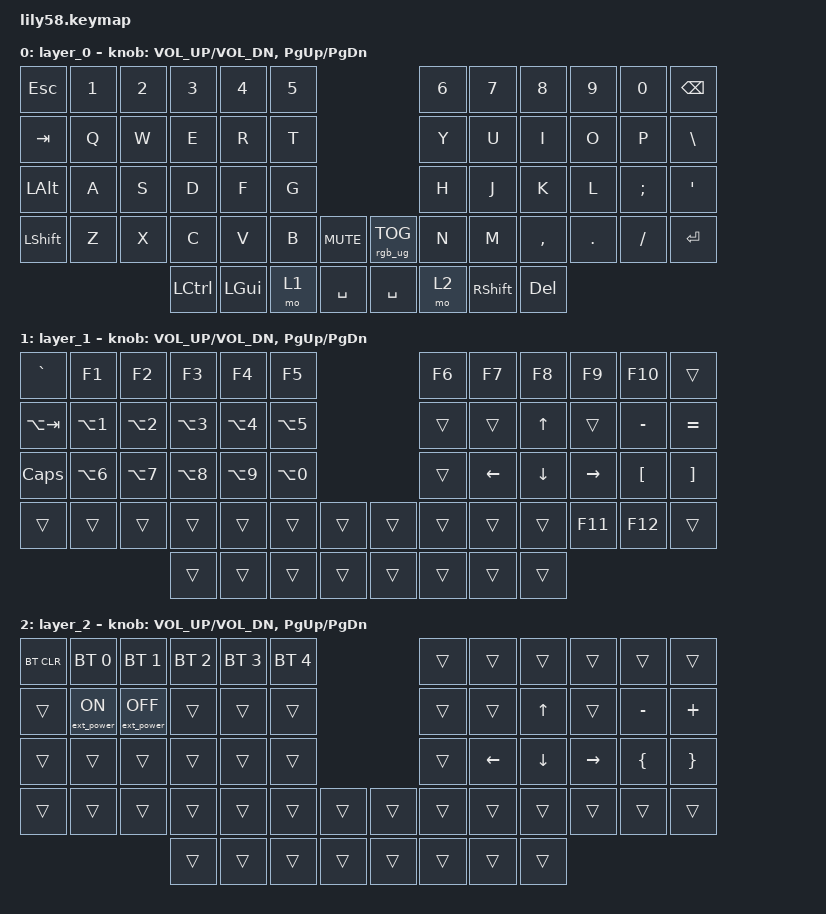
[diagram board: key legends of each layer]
/*
 * Copyright (c) 2020 The ZMK Contributors
 *
 * SPDX-License-Identifier: MIT
 */

#include <behaviors.dtsi>
#include <dt-bindings/zmk/bt.h>
#include <dt-bindings/zmk/ext_power.h>
#include <dt-bindings/zmk/keys.h>
#include <dt-bindings/zmk/rgb.h>

/ {
    // Activate ADJUST layer by pressing raise and lower

    conditional_layers {
        compatible = "zmk,conditional-layers";

        adjust_layer {
            if-layers = <1 2>;
            then-layer = <3>;
        };
    };

    keymap {
        compatible = "zmk,keymap";

        layer_0 {
            // ------------------------------------------------------------------------------------------------------------
            // |  ESC  |  1  |  2  |  3   |  4   |  5   |                   |  6   |  7    |  8    |  9   |   0   |   `   |
            // |  TAB  |  Q  |  W  |  E   |  R   |  T   |                   |  Y   |  U    |  I    |  O   |   P   |   -   |
            // |  CTRL |  A  |  S  |  D   |  F   |  G   |                   |  H   |  J    |  K    |  L   |   ;   |   '   |
            // | SHIFT |  Z  |  X  |  C   |  V   |  B   |  MUTE  |  |RGB_TOG|  N   |  M    |  ,    |  .   |   /   | SHIFT |
            //                     | ALT  | GUI  | LOWER|  SPACE |  | ENTER | RAISE| BSPC  | GUI   |

            bindings = <
&kp ESC         &kp N1  &kp N2  &kp N3            &kp N4    &kp N5                                 &kp N6  &kp N7           &kp N8      &kp N9   &kp N0    &kp BACKSPACE
&kp TAB         &kp Q   &kp W   &kp E             &kp R     &kp T                                  &kp Y   &kp U            &kp I       &kp O    &kp P     &kp BACKSLASH
&kp LEFT_ALT    &kp A   &kp S   &kp D             &kp F     &kp G                                  &kp H   &kp J            &kp K       &kp L    &kp SEMI  &kp SQT
&kp LEFT_SHIFT  &kp Z   &kp X   &kp C             &kp V     &kp B   &kp C_MUTE    &rgb_ug RGB_TOG  &kp N   &kp M            &kp COMMA   &kp DOT  &kp FSLH  &kp ENTER
                                &kp LEFT_CONTROL  &kp LGUI  &mo 1   &kp SPACE     &kp SPACE        &mo 2   &kp RIGHT_SHIFT  &kp DELETE
            >;

            sensor-bindings = <&inc_dec_kp C_VOL_UP C_VOL_DN &inc_dec_kp PG_UP PG_DN>;
        };

        layer_1 {
            // ------------------------------------------------------------------------------------------------------------
            // | BTCLR | BT1 | BT2 |  BT3 |  BT4 |  BT5 |                   |      |       |       |      |       |       |
            // |  F1   |  F2 |  F3 |  F4  |  F5  |  F6  |                   |  F7  |  F8   |  F9   |  F10 |  F11  |  F12  |
            // |   `   |  !  |  @  |  #   |  $   |  %   |                   |  ^   |  &    |  *    |  (   |   )   |   ~   |
            // |EXTPWR |     |     |      |      |      |        |  |       |      |  _    |  +    |  {   |   }   |  "|"  |
            //                     |      |      |      |        |  |       |      |       |       |

            bindings = <
&kp GRAVE    &kp F1            &kp F2            &kp F3            &kp F4            &kp F5                              &kp F6  &kp F7          &kp F8          &kp F9           &kp F10           &trans
&kp LA(TAB)  &kp LA(NUMBER_1)  &kp LA(NUMBER_2)  &kp LA(NUMBER_3)  &kp LA(NUMBER_4)  &kp LA(N5)                          &trans  &trans          &kp UP_ARROW    &trans           &kp MINUS         &kp EQUAL
&kp CAPS     &kp LA(NUMBER_6)  &kp LA(NUMBER_7)  &kp LA(NUMBER_8)  &kp LA(NUMBER_9)  &kp LA(NUMBER_0)                    &trans  &kp LEFT_ARROW  &kp DOWN_ARROW  &kp RIGHT_ARROW  &kp LEFT_BRACKET  &kp RIGHT_BRACKET
&trans       &trans            &trans            &trans            &trans            &trans            &trans    &trans  &trans  &trans          &trans          &kp F11          &kp F12           &trans
                                                 &trans            &trans            &trans            &trans    &trans  &trans  &trans          &trans
            >;

            sensor-bindings = <&inc_dec_kp C_VOL_UP C_VOL_DN &inc_dec_kp PG_UP PG_DN>;
        };

        layer_2 {
            // ----------------------------------------------------------------------------------------------------------------------------
            // | BTCLR  |  BT1    |  BT2    |   BT3   |   BT4   |   BT5   |                  |      |      |       |      |       |       |
            // | EXTPWR | RGB_HUD | RGB_HUI | RGB_SAD | RGB_SAI | RGB_EFF |                  |      |      |       |      |       |       |
            // |        | RGB_BRD | RGB_BRI |         |         |         |                  |      |      |       |      |       |       |
            // |        |         |         |         |         |         | RGB_TOG | |      |      |      |       |      |       |       |
            //                    |         |         |         |         |         | |      |      |      |       |      |

            bindings = <
&bt BT_CLR  &bt BT_SEL 0      &bt BT_SEL 1       &bt BT_SEL 2  &bt BT_SEL 3  &bt BT_SEL 4                    &trans  &trans          &trans          &trans           &trans          &trans
&trans      &ext_power EP_ON  &ext_power EP_OFF  &trans        &trans        &trans                          &trans  &trans          &kp UP_ARROW    &trans           &kp MINUS       &kp PLUS
&trans      &trans            &trans             &trans        &trans        &trans                          &trans  &kp LEFT_ARROW  &kp DOWN_ARROW  &kp RIGHT_ARROW  &kp LEFT_BRACE  &kp RIGHT_BRACE
&trans      &trans            &trans             &trans        &trans        &trans        &trans    &trans  &trans  &trans          &trans          &trans           &trans          &trans
                                                 &trans        &trans        &trans        &trans    &trans  &trans  &trans          &trans
            >;

            sensor-bindings =
                <&inc_dec_kp C_VOL_UP C_VOL_DN>,
                <&inc_dec_kp PAGE_UP PAGE_DOWN>;
        };
    };
};
